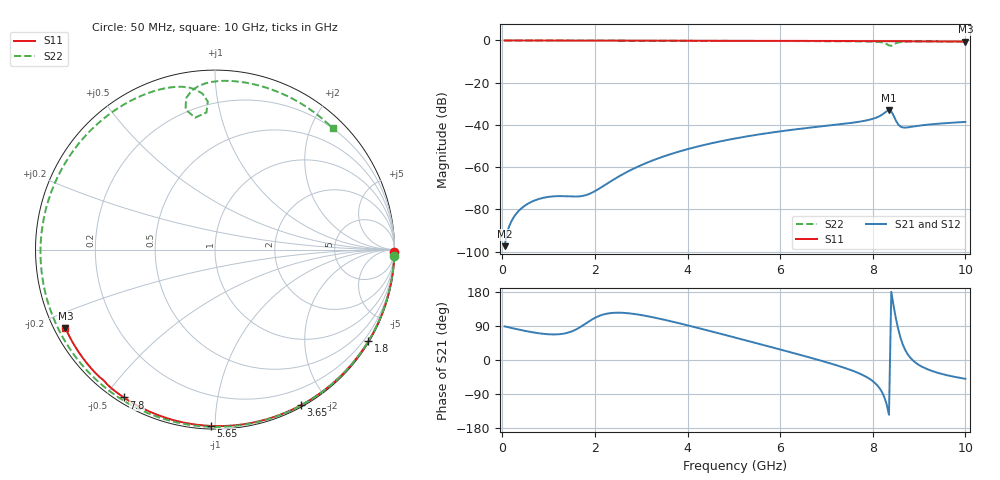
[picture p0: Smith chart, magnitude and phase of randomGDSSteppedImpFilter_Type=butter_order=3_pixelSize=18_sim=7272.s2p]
! freq	dB(S11)	phase(S11)	dB(S12)	phase(S12)
!  dB(S21)	phase(S21)	dB(S22)	phase(S22)
!S-par simulation data
#  GHz  S  DB  R 50
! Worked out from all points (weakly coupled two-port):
!   200 points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, 50 MHz to 10 GHz, reference 50 ohm
!   highest |S21| = -33.01 dB at 8.35 GHz (marker M1); lowest = -97.4 dB at 50 MHz (marker M2)
!   lowest |S11| = -0.5 dB at 10 GHz (marker M3), VSWR 33.00, Z = 1.61 - j12.3 ohm
!   |S11| at or under -10 dB: nowhere
!   |S22| runs from -2.6 to 0.0 dB; largest |S21 - S12| = 0
!   S11 on the Smith chart (normalised r, x): 50 MHz: open; 1.8 GHz: 0.03, -3.62; 3.65 GHz: 0.02, -1.70; 5.65 GHz: 0.02, -0.98; 7.8 GHz: 0.02, -0.56; 10 GHz: 0.03, -0.25
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0.05  -0.00 -0.9  -97.37 88.8  -97.37 88.8  -0.00 -2.0
0.4  -0.01 -7.0  -79.72 79.1  -79.72 79.1  -0.02 -15.6
0.65  -0.01 -11.3  -76.18 73.2  -76.18 73.2  -0.03 -25.3
0.95  -0.02 -16.5  -74.20 68.3  -74.20 68.3  -0.05 -36.7
1.75  -0.04 -30.1  -73.51 92.1  -73.51 92.1  -0.08 -66.0
1.8  -0.04 -30.9  -73.24 96.1  -73.24 96.1  -0.08 -67.8
2.55  -0.06 -43.4  -63.96 124.8  -63.96 124.8  -0.11 -93.2
3.4  -0.08 -57.1  -55.54 108.9  -55.54 108.9  -0.14 -119.9
3.65  -0.08 -61.1  -53.70 101.9  -53.70 101.9  -0.15 -127.4
4.35  -0.10 -71.9  -49.50 80.7  -49.50 80.7  -0.18 -147.7
5.05  -0.13 -82.5  -46.31 58.5  -46.31 58.5  -0.22 -167.4
5.65  -0.15 -91.3  -44.12 39.1  -44.12 39.1  -0.25 175.9
6.7  -0.21 -106.3  -41.13 4.5  -41.13 4.5  -0.33 146.2
7.8  -0.28 -121.7  -38.13 -40.6  -38.13 -40.6  -0.47 112.4
8.15  -0.32 -126.5  -35.78 -74.9  -35.78 -74.9  -0.77 99.2
8.35  -0.36 -129.4  -33.01 -144.4  -33.01 -144.4  -2.32 93.6
8.4  -0.38 -130.0  -33.58 179.9  -33.58 179.9  -2.58 98.6
8.45  -0.38 -130.6  -35.57 142.5  -35.57 142.5  -1.96 101.9
8.55  -0.37 -131.9  -39.78 81.2  -39.78 81.2  -0.95 98.3
8.65  -0.38 -133.3  -41.18 40.3  -41.18 40.3  -0.65 93.3
9.25  -0.43 -141.7  -39.72 -27.7  -39.72 -27.7  -0.48 70.9
10  -0.53 -152.4  -38.55 -49.7  -38.55 -49.7  -0.52 45.9
